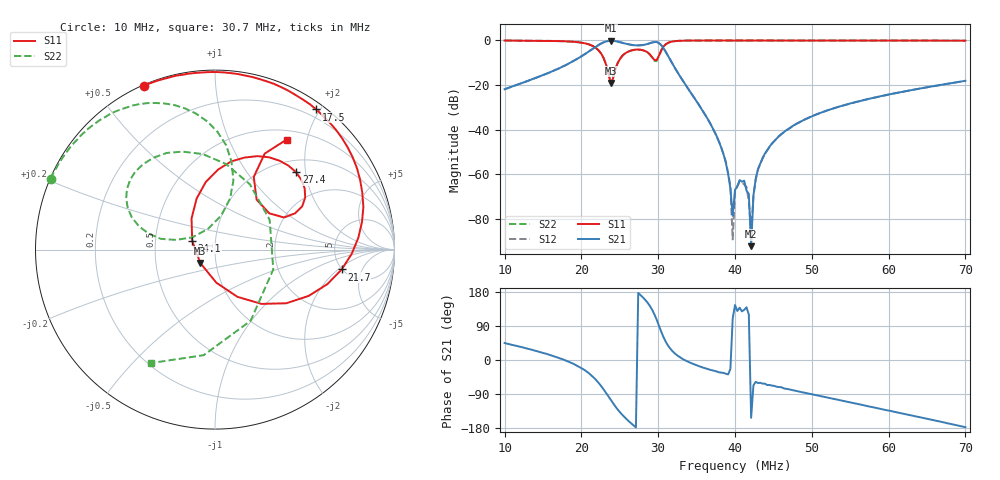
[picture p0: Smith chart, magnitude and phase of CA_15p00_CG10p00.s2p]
#  HZ  S  RI  R  50.00
! Rohde & Schwarz ZVT8 8Ports - Version 4.11 - 1300.0000k08 SN: 100242
! Date: 2026-07-31 14:23:09
! Measurements: S11 S21 S12 S22
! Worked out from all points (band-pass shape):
!   201 points, 10 MHz to 70 MHz, reference 50 ohm
!   highest |S21| = -0.14 dB at 23.8 MHz (marker M1); lowest = -92.4 dB at 42.1 MHz (marker M2)
!   |S21| within 3 dB of the highest: 21.74 MHz to 30.62 MHz (8.884 MHz wide, 33.9 % of centre)
!   lowest |S11| = -19.1 dB at 23.8 MHz (marker M3), VSWR 1.25, Z = 42 - j6.38 ohm
!   |S11| at or under -10 dB: 23.12 MHz to 24.76 MHz (1.637 MHz wide, 6.84 % of centre)
!   |S22| runs from -18.3 to 0.0 dB; largest |S21 - S12| = 0.0027
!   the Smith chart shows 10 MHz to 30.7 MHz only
!   S11 on the Smith chart (normalised r, x): 10 MHz: 0.00, +0.66; 17.5 MHz: 0.09, +1.95; 21.7 MHz: 4.96, -2.24; 24.1 MHz: 0.77, +0.08; 27.4 MHz: 1.26, +1.78; 30.7 MHz: 0.63, +1.66
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1e7  -0.3955 0.914  0.057 0.0565  0.0568 0.0566  -0.9148 0.3941
1.75e7  0.5643 0.7807  0.2564 0.0109  0.2566 0.00997  -0.6314 0.7288
2.02e7  0.8208 0.3159  0.4239 -0.1875  0.4234 -0.1865  -0.3319 0.8167
2.17e7  0.706 -0.1108  0.4602 -0.5146  0.4609 -0.5136  -0.044 0.7146
2.38e7  -0.0817 -0.075  -0.2513 -0.9514  -0.2514 -0.9514  -0.0402 0.1144
2.41e7  -0.1273 0.0499  -0.3932 -0.8996  -0.3931 -0.8989  -0.1266 0.0684
2.74e7  0.4529 0.4302  -0.7739 0.0413  -0.7744 0.0423  -0.3989 0.4771
2.89e7  0.4459 0.202  -0.6911 0.5195  -0.69 0.5189  0.0607 0.4774
3.01e7  0.2159 0.4052  -0.00777 0.8768  -0.00755 0.8745  0.1984 -0.3968
3.07e7  0.3989 0.613  0.3359 0.5767  0.3336 0.5766  -0.3539 -0.6318
3.22e7  0.8651 0.4323  0.2275 0.0681  0.2276 0.0681  -0.9609 -0.0949
3.79e7  0.8838 -0.463  0.00451 -0.00287  0.0046 -0.00291  -0.782 0.6199
3.91e7  0.803 -0.5938  0.000803 -0.000629  0.000856 -0.000621  -0.7348 0.6784
3.97e7  0.7571 -0.6513  -3.77e-05 0.000109  3.17e-05 -1.28e-05  -0.7093 0.7012
4e7  0.7316 -0.6783  -0.00036 0.000253  -0.00027 0.000274  -0.6987 0.7136
4.12e7  0.6264 -0.7779  -0.000479 0.000524  -0.00037 0.000449  -0.651 0.7558
4.21e7  0.5399 -0.8401  -2.13e-05 -1.11e-05  -3.3e-05 -3.37e-05  -0.6171 0.7843
4.27e7  0.4783 -0.8753  0.000419 -0.000663  0.000415 -0.000629  -0.5941 0.8027
4.39e7  0.3514 -0.9351  0.00134 -0.00256  0.00125 -0.00255  -0.5487 0.8331
5.02e7  -0.3466 -0.9361  -0.000438 -0.0204  -0.000384 -0.0205  -0.3125 0.947
6.01e7  -0.9879 -0.1122  -0.0425 -0.0445  -0.0425 -0.0443  0.0666 0.9932
7e7  -0.5258 0.8373  -0.1241 -0.00574  -0.1237 -0.00567  0.4441 0.8842
